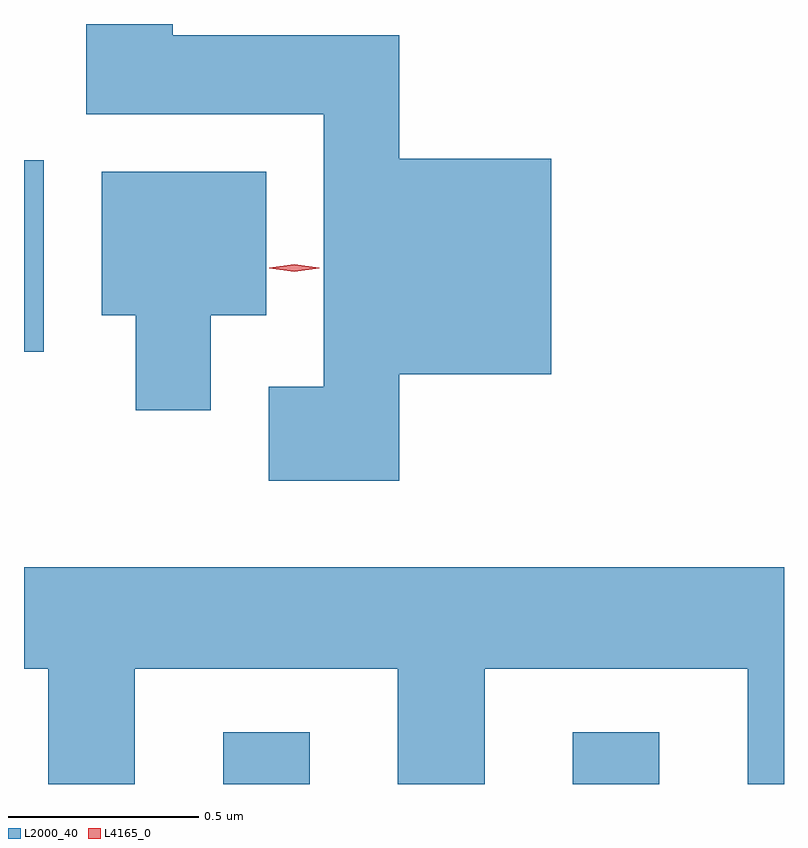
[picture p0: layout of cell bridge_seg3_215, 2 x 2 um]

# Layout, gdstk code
import gdstk
lib = gdstk.Library(unit=1e-6, precision=1e-09)
def R(c, l, rs):  # rectangles x0, y0, x1, y1
    for r in rs: c.add(gdstk.rectangle(r[:2], r[2:], *l))
def P(c, l, *ps):  # polygons
    for p in ps: c.add(gdstk.Polygon(p, *l))
L2000_40 = (2000, 40)
L4165_0 = (4165, 0)

bridge_seg3_215 = lib.new_cell('bridge_seg3_215')
R(bridge_seg3_215, L2000_40, [(947.261,1178.993,947.489,1179.129), (948.181,1178.993,948.409,1179.129), (946.737,1180.131,946.789,1180.634)])
P(bridge_seg3_215, L2000_40, [(947.724,1180.071),(948.124,1180.071),(948.124,1180.639),(947.724,1180.639),(947.724,1180.964),(947.129,1180.964),(947.129,1180.993),(946.901,1180.993),(946.901,1180.756),(947.526,1180.756),(947.526,1180.039),(947.381,1180.039),(947.381,1179.791),(947.724,1179.791)],
  [(947.229,1180.226),(947.374,1180.226),(947.374,1180.604),(946.941,1180.604),(946.941,1180.226),(947.031,1180.226),(947.031,1179.976),(947.229,1179.976)],
  [(947.029,1179.296),(947.721,1179.296),(947.721,1178.993),(947.949,1178.993),(947.949,1179.296),(948.641,1179.296),(948.641,1178.993),(948.737,1178.993),(948.737,1179.564),(946.737,1179.564),(946.737,1179.296),(946.801,1179.296),(946.801,1178.993),(947.029,1178.993)])
P(bridge_seg3_215, L4165_0, [(947.448,1180.341),(947.382,1180.35),(947.382,1180.351),(947.382,1180.351),(947.448,1180.361),(947.514,1180.351),(947.514,1180.351),(947.514,1180.35)])

lib.write_gds('bridge_seg3_215.gds')
